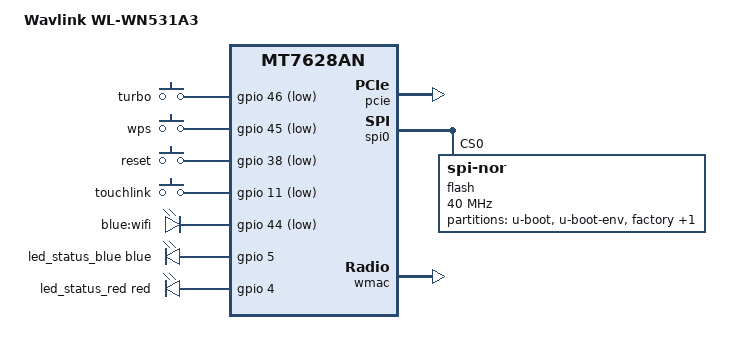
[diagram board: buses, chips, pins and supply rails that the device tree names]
#include "mt7628an.dtsi"

#include <dt-bindings/input/input.h>
#include <dt-bindings/leds/common.h>
#include <dt-bindings/gpio/gpio.h>

/ {
	compatible = "wavlink,wl-wn531a3", "mediatek,mt7628an-soc";
	model = "Wavlink WL-WN531A3";

	aliases {
		led-boot = &led_status_blue;
		led-failsafe = &led_status_red;
		led-running = &led_status_blue;
		led-upgrade = &led_status_red;
	};

	keys {
		compatible = "gpio-keys";

		turbo {
			label = "turbo";
			gpios = <&gpio 46 GPIO_ACTIVE_LOW>;
			linux,code = <BTN_1>;
		};

		wps {
			label = "wps";
			gpios = <&gpio 45 GPIO_ACTIVE_LOW>;
			linux,code = <KEY_WPS_BUTTON>;
		};

		reset {
			label = "reset";
			gpios = <&gpio 38 GPIO_ACTIVE_LOW>;
			linux,code = <KEY_RESTART>;
		};

		touchlink {
			label = "touchlink";
			gpios = <&gpio 11 GPIO_ACTIVE_LOW>;
			linux,code = <BTN_0>;
		};
	};

	leds {
		compatible = "gpio-leds";

		wifi {
			label = "blue:wifi";
			gpios = <&gpio 44 GPIO_ACTIVE_LOW>;
			linux,default-trigger = "phy0tpt";
		};

		led_status_blue: led_status_blue {
			function = LED_FUNCTION_STATUS;
			color = <LED_COLOR_ID_BLUE>;
			gpios = <&gpio 5 GPIO_ACTIVE_HIGH>;
		};

		led_status_red: led_status_red {
			function = LED_FUNCTION_STATUS;
			color = <LED_COLOR_ID_RED>;
			gpios = <&gpio 4 GPIO_ACTIVE_HIGH>;
		};
	};
};

&state_default {
	gpio {
		groups = "i2c", "wled_an", "gpio", "wdt";
		function = "gpio";
	};
};

&pcie {
	status = "okay";
};

&pcie0 {
	mt76@0,0 {
		reg = <0x0000 0 0 0 0>;
		nvmem-cells = <&eeprom_factory_8000>;
		nvmem-cell-names = "eeprom";
		ieee80211-freq-limit = <5000000 6000000>;
	};
};

&spi0 {
	status = "okay";

	flash@0 {
		compatible = "jedec,spi-nor";
		reg = <0>;
		spi-max-frequency = <40000000>;

		partitions {
			compatible = "fixed-partitions";
			#address-cells = <1>;
			#size-cells = <1>;

			partition@0 {
				label = "u-boot";
				reg = <0x0 0x30000>;
				read-only;
			};

			partition@30000 {
				label = "u-boot-env";
				reg = <0x30000 0x10000>;
				read-only;
			};

			partition@40000 {
				label = "factory";
				reg = <0x40000 0x10000>;
				read-only;

				nvmem-layout {
					compatible = "fixed-layout";
					#address-cells = <1>;
					#size-cells = <1>;

					eeprom_factory_0: eeprom@0 {
						reg = <0x0 0x400>;
					};

					eeprom_factory_8000: eeprom@8000 {
						reg = <0x8000 0x200>;
					};

					macaddr_factory_28: macaddr@28 {
						reg = <0x28 0x6>;
					};
				};
			};

			partition@50000 {
				compatible = "denx,uimage";
				label = "firmware";
				reg = <0x50000 0x7b0000>;
			};
		};
	};
};

&wmac {
	status = "okay";

	nvmem-cells = <&eeprom_factory_0>;
	nvmem-cell-names = "eeprom";
};

&ethernet {
	nvmem-cells = <&macaddr_factory_28>;
	nvmem-cell-names = "mac-address";
};

&esw {
	mediatek,portmap = <0x2f>;
};
